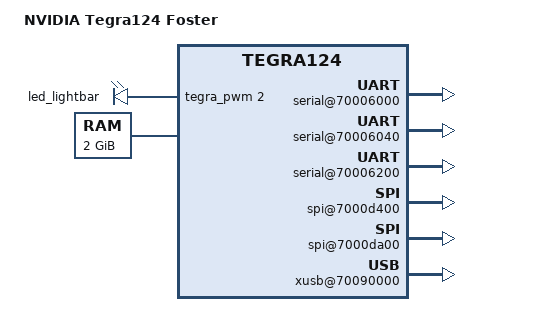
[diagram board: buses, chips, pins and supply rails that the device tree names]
/*
 * Copyright (c) 2014, NVIDIA CORPORATION.  All rights reserved.
 *
 * This program is free software; you can redistribute it and/or modify it
 * under the terms and conditions of the GNU General Public License,
 * version 2, as published by the Free Software Foundation.
 *
 * This program is distributed in the hope it will be useful, but WITHOUT
 * ANY WARRANTY; without even the implied warranty of MERCHANTABILITY or
 * FITNESS FOR A PARTICULAR PURPOSE.  See the GNU General Public License for
 * more details.
 */

/dts-v1/;

#include "tegra124.dtsi"
#include <dt-bindings/gpio/tegra-gpio.h>
#include <tegra124-platforms/tegra124-loki-gpio-default.dtsi>
#include <tegra124-platforms/tegra124-loki-pinmux.dtsi>
#include "tegra124-platforms/tegra124-loki-pmic-e2530-0000-a01.dtsi"
#include "tegra124-platforms/tegra124-loki-fixed-e2530-0000-a00.dtsi"

/ {
	model = "NVIDIA Tegra124 Foster";
	compatible = "nvidia,loki", "nvidia,tegra124";
	nvidia,dtsfilename = __FILE__;
	#address-cells = <2>;
	#size-cells = <2>;

	chosen {
		bootargs = "tegraid=40.0.0.00.00 vmalloc=256M video=tegrafb console=ttyS0,115200n8 earlyprintk";
		linux,initrd-start = <0x85000000>;
		linux,initrd-end = <0x851bc400>;
	};

	pwm-leds {
		compatible = "pwm-leds";
		lightbar {
			label = "led_lightbar";
			pwms = <&tegra_pwm 2 10000000>;
			max_brightness = <255>;
			linux,default-trigger = "default-on";
		};
	};

	serial@70006000 {
		compatible = "nvidia,tegra114-hsuart";
		status = "okay";
	};

	serial@70006040 {
		compatible = "nvidia,tegra114-hsuart";
		status = "okay";
	};

	serial@70006200 {
		compatible = "nvidia,tegra114-hsuart";
		status = "okay";
	};

	memory@0x80000000 {
		device_type = "memory";
		reg = <0x0 0x80000000 0x0 0x80000000>;
	};

	i2c@7000d000 {
		nvidia,bit-banging-xfer-after-shutdown;

		tps65913 {
			gpadc {
				ti,auto-conversion-period-ms = <1000>;
				iio_map {
					ch1 {
						ti,adc-channel-number = <1>;
						ti,adc-consumer-device = "generic-adc-thermal.0";
						ti,adc-consumer-channel ="thermistor";
					};

					ch3 {
						ti,adc-channel-number = <3>;
						ti,adc-consumer-device = "generic-adc-thermal.1";
						ti,adc-consumer-channel ="tdiode";
					};
				};
			};
		};
	};

	spi@7000d400 {
		status = "okay";
		spi-max-frequency = <25000000>;
	};

	spi@7000da00 {
		status = "okay";
		spi-max-frequency = <25000000>;
	};

	pmc {
		status = "okay";
		nvidia,invert-interrupt;
		nvidia,suspend-mode = <3>;
		nvidia,cpu-pwr-good-time = <500>;
		nvidia,cpu-pwr-off-time = <300>;
		nvidia,core-pwr-good-time = <3845 3845>;
		nvidia,core-pwr-off-time = <2000>;
		nvidia,core-power-req-active-high;
		nvidia,sys-clock-req-active-high;
	};

	xusb@70090000 {
		/* nvidia,uses_external_pmic;
		nvidia,gpio_controls_muxed_ss_lanes; */
		nvidia,gpio_ss1_sata = <0>;
		nvidia,portmap = <0x603>; /* SSP0, SSP1 USB2P1, USB2P2 */
		nvidia,ss_portmap = <0x21>; /* SSP0 on USB2P1, SSP1 on USB2P2 */
		nvidia,lane_owner = <6>; /* USB3P0 USB3P1 */
		nvidia,ulpicap = <0>; /* No ulpi support. can we remove */
		nvidia,supply_utmi_vbuses = "usb_vbus0", "usb_vbus1", "usb_vbus2";
		nvidia,supply_s3p3v = "hvdd_usb";
		nvidia,supply_s1p8v = "avdd_pll_utmip";
		nvidia,supply_vddio_hsic = "vddio_hsic";
		nvidia,supply_s1p05v = "avddio_usb";
		status = "okay";
	};
};
